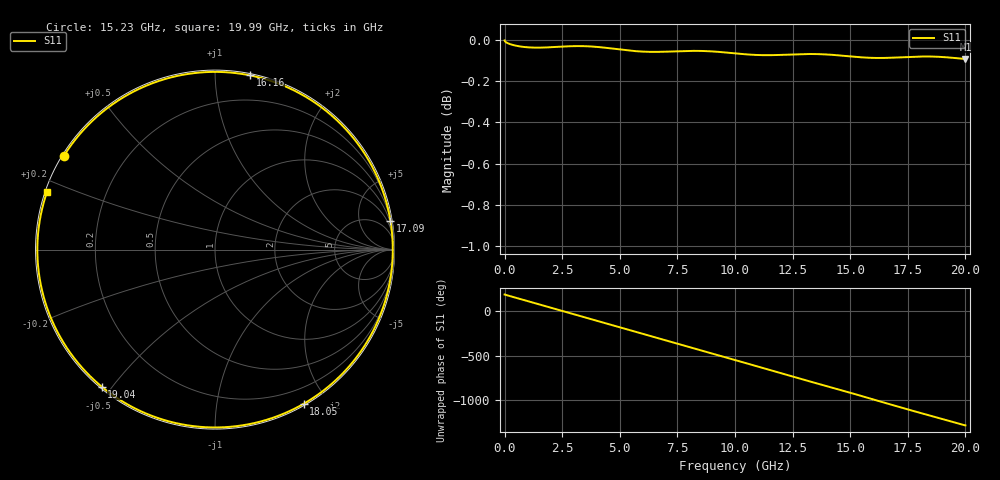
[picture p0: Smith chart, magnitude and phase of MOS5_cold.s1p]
# GHz S RI R 50
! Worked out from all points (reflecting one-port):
!   10001 points, 1 MHz to 20 GHz, reference 50 ohm
!   lowest |S11| = -0.1 dB at 20 GHz (marker M1), VSWR 189.96, Z = 0.271 + j8.57 ohm
!   phase of S11 starts at 180 deg and turns -1459 deg over the sweep
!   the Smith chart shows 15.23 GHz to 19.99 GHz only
!   S11 on the Smith chart (normalised r, x): 15.23 GHz: 0.01, +0.28; 16.16 GHz: 0.01, +1.22; 17.09 GHz: 1, +12; 18.05 GHz: 0.02, -1.73; 19.04 GHz: 0.01, -0.47; 19.99 GHz: 0.01, +0.17
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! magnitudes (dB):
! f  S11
! 1 MHz  0.0
! 157 MHz  0.0
! 341 MHz  0.0
! 607 MHz  0.0
! 915 MHz  0.0
! 1.545 GHz  0.0
! 2.501 GHz  0.0
! 3.113 GHz  0.0
! 3.657 GHz  0.0
! 4.205 GHz  0.0
! 5.001 GHz  0.0
! 5.641 GHz  -0.1
! 6.185 GHz  -0.1
! 7.501 GHz  -0.1
! 8.693 GHz  -0.1
! 10 GHz  -0.1
! 11.19 GHz  -0.1
! 12.5 GHz  -0.1
! 13.69 GHz  -0.1
! 15 GHz  -0.1
! 15.23 GHz  -0.1
! 16.16 GHz  -0.1
! 17.09 GHz  -0.1
! 17.5 GHz  -0.1
! 18.05 GHz  -0.1
! 19.04 GHz  -0.1
! 19.99 GHz  -0.1
! 20 GHz  -0.1
